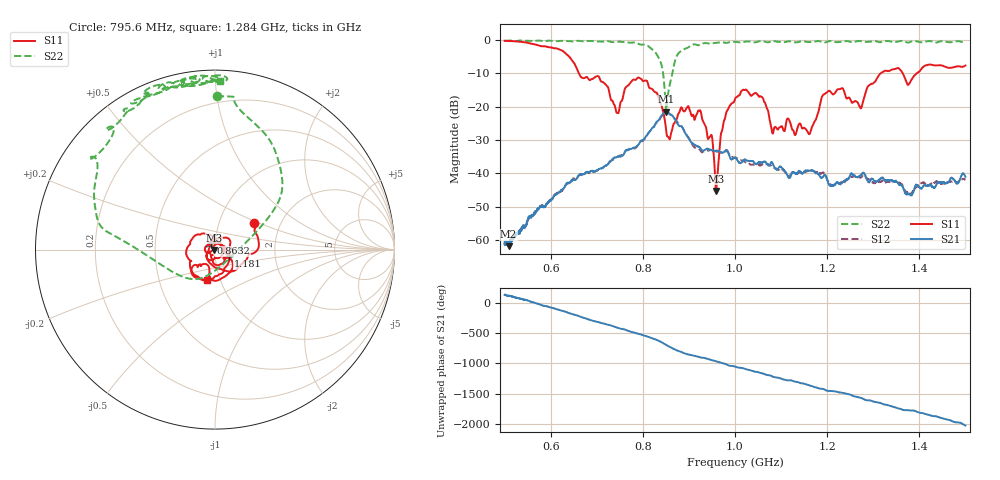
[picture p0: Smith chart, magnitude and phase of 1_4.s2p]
!Agilent Technologies,E8364B,US42250235,A.06.04.32
!Agilent E8364B: A.06.04.32
!Date: Thursday, October 01, 2020 11:10:55
!Correction: S11(Full 2 Port(1,2)) S21(Full 2 Port(1,2)) S12(Full 2 Port(1,2)) S22(Full 2 Port(1,2))
!S2P File: Measurements: S11, S21, S12, S22:
# Hz S  dB  R 50
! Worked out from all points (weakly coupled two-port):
!   2650 points, 500 MHz to 1.5 GHz, reference 50 ohm
!   highest |S21| = -21.47 dB at 851.1 MHz (marker M1); lowest = -61.8 dB at 508.7 MHz (marker M2)
!   lowest |S11| = -45.3 dB at 958.7 MHz (marker M3), VSWR 1.01, Z = 49.5 - j0.17 ohm
!   |S11| at or under -10 dB: 661.3 MHz to 1.316 GHz (654.6 MHz wide, 66.2 % of centre); 1.364 GHz to 1.394 GHz (29.52 MHz wide, 2.14 % of centre)
!   |S22| runs from -20.8 to -0.1 dB; largest |S21 - S12| = 0.013
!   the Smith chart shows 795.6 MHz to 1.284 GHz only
!   S11 on the Smith chart (normalised r, x): 795.6 MHz: 1.47, +0.47; 863.2 MHz: 0.95, +0.07; 1.181 GHz: 1.16, -0.09; 1.284 GHz: 0.87, -0.30
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5e8  -0.20 -175.0  -60.70 133.4  -60.65 140.2  -0.21 137.0
5.086825e8  -0.24 -179.9  -61.80 115.5  -61.38 118.4  -0.14 136.2
6.140053e8  -2.54 109.9  -46.10 -106.1  -45.92 -105.7  -0.32 126.4
6.668554e8  -11.16 73.1  -40.26 123.6  -40.48 123.1  -0.31 121.9
7.446206e8  -21.82 74.3  -35.05 -49.2  -34.97 -45.0  -0.47 106.8
7.955832e8  -11.59 34.2  -30.22 -162.2  -30.33 -158.7  -1.35 89.3
8.337108e8  -17.16 -60.3  -24.09 94.1  -24.47 100.1  -5.13 47.8
8.510759e8  -27.56 -159.5  -21.47 24.1  -21.63 32.8  -20.83 -53.4
8.631559e8  -27.10 124.2  -22.50 -26.2  -22.60 -17.6  -10.57 -160.7
8.81276e8  -20.74 46.4  -25.80 -83.1  -25.59 -76.8  -3.45 166.1
9.231786e8  -21.12 -70.7  -32.09 -177.3  -32.84 -168.3  -1.46 134.3
9.488486e8  -28.46 -130.6  -32.93 136.0  -32.99 146.7  -1.02 127.1
9.586636e8  -45.25 -161.7  -33.17 116.4  -33.49 129.1  -0.81 122.4
9.775387e8  -23.82 1.1  -33.39 77.0  -33.43 87.1  -0.78 122.5
1.000189e9  -17.62 -68.8  -35.26 25.9  -35.11 36.8  -0.51 119.7
1.057191e9  -17.01 156.2  -36.70 -80.4  -37.44 -68.9  -0.23 111.0
1.083239e9  -27.54 94.4  -37.41 -143.6  -38.15 -128.8  -0.28 106.7
1.166667e9  -26.11 7.1  -39.01 65.1  -39.11 71.7  -0.56 97.0
1.181012e9  -21.50 -26.6  -40.22 29.2  -39.77 39.2  -0.27 99.1
1.284447e9  -15.22 -104.1  -41.25 -167.2  -41.32 -163.2  -0.54 88.2
1.333522e9  -9.30 -150.9  -42.04 104.2  -42.38 103.9  -0.28 84.8
1.5e9  -7.62 144.1  -41.00 134.1  -41.99 125.0  -0.67 61.3
